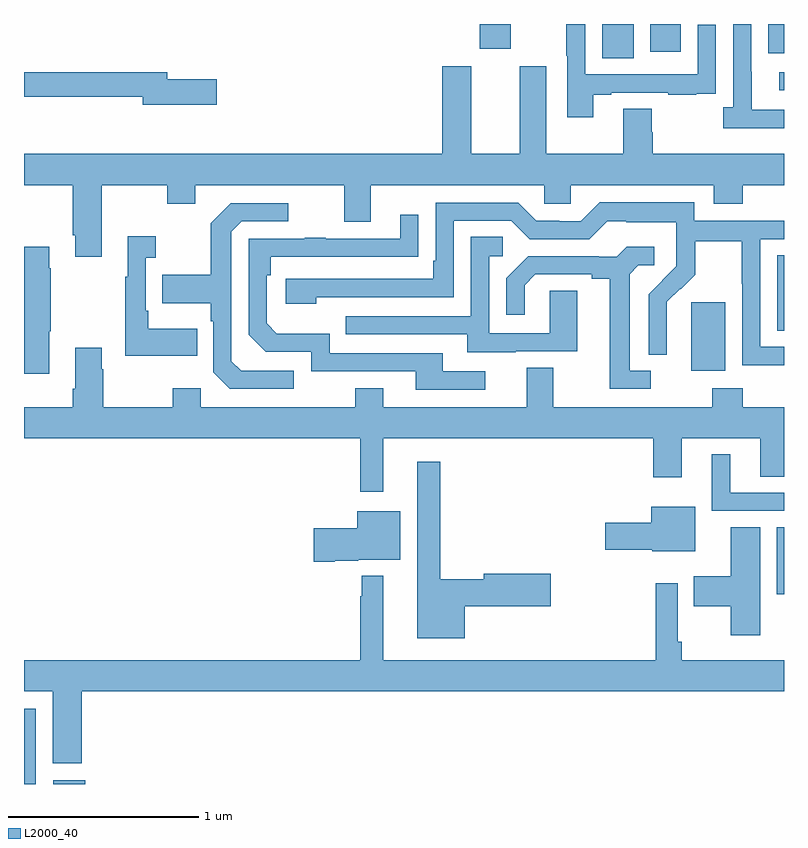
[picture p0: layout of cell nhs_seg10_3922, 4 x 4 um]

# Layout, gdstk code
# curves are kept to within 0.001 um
import gdstk
lib = gdstk.Library(unit=1e-6, precision=1e-09)
def R(c, l, rs):  # rectangles x0, y0, x1, y1
    for r in rs: c.add(gdstk.rectangle(r[:2], r[2:], *l))
def P(c, l, *ps):  # polygons
    for p in ps: c.add(gdstk.Polygon(p, *l))
L2000_40 = (2000, 40)

nhs_seg10_3922 = lib.new_cell('nhs_seg10_3922')
R(nhs_seg10_3922, L2000_40, [(327,1294.5,327.063,1294.896), (327.155,1294.5,327.322,1294.519), (330.962,1295.499,331,1295.852), (330.512,1296.674,330.691,1297.035), (330.965,1296.886,331,1297.283), (330.975,1298.151,331,1298.247), (330.044,1298.32,330.208,1298.5), (330.917,1298.345,331,1298.5), (330.296,1298.355,330.457,1298.5), (329.399,1298.37,329.563,1298.5)])
P(nhs_seg10_3922, L2000_40, [(331,1298.049),(330.829,1298.049),(330.829,1298.249),(330.828,1298.249),(330.828,1298.5),(330.732,1298.5),(330.732,1298.062),(330.681,1298.062),(330.681,1297.952),(331,1297.952)],
  [(329.995,1298.127),(330.091,1298.127),(330.091,1298.139),(330.391,1298.139),(330.391,1298.127),(330.539,1298.127),(330.539,1298.133),(330.641,1298.133),(330.641,1298.242),(330.642,1298.242),(330.642,1298.497),(330.546,1298.497),(330.546,1298.235),(329.955,1298.235),(329.955,1298.5),(329.854,1298.5),(329.854,1298.332),(329.859,1298.332),(329.859,1298.01),(329.995,1298.01)],
  [(327.409,1297.652),(327.754,1297.652),(327.754,1297.553),(327.901,1297.553),(327.901,1297.652),(328.685,1297.652),(328.685,1297.458),(328.825,1297.458),(328.825,1297.652),(329.739,1297.652),(329.739,1297.554),(329.877,1297.554),(329.877,1297.652),(330.629,1297.652),(330.629,1297.553),(330.782,1297.553),(330.782,1297.652),(331,1297.652),(331,1297.816),(330.308,1297.816),(330.308,1297.929),(330.303,1297.929),(330.303,1298.054),(330.155,1298.054),(330.155,1297.816),(329.749,1297.816),(329.749,1298.278),(329.609,1298.278),(329.609,1297.816),(329.353,1297.816),(329.353,1298.278),(329.201,1298.278),(329.201,1297.816),(327,1297.816),(327,1297.652),(327.257,1297.652),(327.257,1297.387),(327.269,1297.387),(327.269,1297.275),(327.409,1297.275)],
  [(328.015,1298.21),(327.754,1298.21),(327.754,1298.246),(327,1298.246),(327,1298.118),(327.626,1298.118),(327.626,1298.075),(328.015,1298.075)],
  [(331,1296.801),(330.876,1296.801),(330.876,1297.368),(331,1297.368),(331,1297.464),(330.528,1297.464),(330.528,1297.561),(330.031,1297.561),(329.931,1297.461),(329.816,1297.461),(329.816,1297.464),(329.697,1297.464),(329.601,1297.56),(329.166,1297.56),(329.166,1297.255),(329.153,1297.255),(329.153,1297.158),(328.377,1297.158),(328.377,1297.028),(328.538,1297.028),(328.538,1297.062),(329.262,1297.062),(329.262,1297.464),(329.565,1297.464),(329.661,1297.368),(329.976,1297.368),(330.069,1297.461),(330.169,1297.461),(330.169,1297.457),(330.432,1297.457),(330.432,1297.323),(330.434,1297.323),(330.434,1297.226),(330.288,1297.078),(330.288,1296.76),(330.384,1296.76),(330.383,1297.037),(330.453,1297.107),(330.456,1297.104),(330.533,1297.181),(330.533,1297.356),(330.778,1297.356),(330.778,1297.132),(330.78,1297.132),(330.78,1296.703),(331,1296.703)],
  [(328.42,1296.675),(328.143,1296.675),(328.092,1296.726),(328.092,1297.407),(328.146,1297.461),(328.39,1297.461),(328.39,1297.557),(328.089,1297.557),(327.984,1297.451),(327.984,1297.179),(327.727,1297.179),(327.727,1297.031),(327.984,1297.031),(327.984,1296.935),(327.996,1296.935),(327.996,1296.666),(328.083,1296.579),(328.42,1296.579)],
  [(329.428,1296.672),(329.203,1296.672),(329.203,1296.768),(328.608,1296.768),(328.608,1296.871),(328.331,1296.871),(328.278,1296.924),(328.278,1297.178),(328.298,1297.178),(328.298,1297.275),(329.075,1297.276),(329.075,1297.495),(328.979,1297.495),(328.979,1297.371),(328.589,1297.371),(328.589,1297.376),(328.477,1297.376),(328.477,1297.371),(328.182,1297.371),(328.182,1296.864),(328.272,1296.774),(328.512,1296.774),(328.512,1296.672),(329.063,1296.672),(329.063,1296.576),(329.428,1296.576)],
  [(327.911,1296.895),(327.655,1296.895),(327.655,1296.991),(327.642,1296.991),(327.642,1297.271),(327.694,1297.271),(327.694,1297.384),(327.545,1297.384),(327.545,1297.171),(327.534,1297.171),(327.534,1296.755),(327.911,1296.755)],
  [(329.587,1296.777),(329.911,1296.777),(329.911,1297.097),(329.766,1297.097),(329.766,1296.873),(329.448,1296.873),(329.448,1297.278),(329.521,1297.278),(329.521,1297.379),(329.352,1297.379),(329.352,1296.963),(328.693,1296.963),(328.693,1296.867),(329.333,1296.867),(329.333,1296.773),(329.587,1296.773)],
  [(330.298,1296.675),(330.187,1296.675),(330.187,1297.183),(330.234,1297.23),(330.316,1297.23),(330.316,1297.327),(330.172,1297.327),(330.12,1297.275),(330.026,1297.275),(330.026,1297.278),(329.654,1297.278),(329.538,1297.162),(329.538,1296.969),(329.635,1296.969),(329.635,1297.125),(329.692,1297.182),(329.987,1297.182),(329.987,1297.16),(330.083,1297.16),(330.083,1296.579),(330.298,1296.579)],
  [(327.133,1296.883),(327.141,1296.883),(327.141,1297.214),(327.133,1297.214),(327.133,1297.327),(327,1297.327),(327,1296.66),(327.133,1296.66)],
  [(328.891,1296.32),(330.311,1296.32),(330.311,1296.114),(330.463,1296.114),(330.463,1296.32),(330.875,1296.32),(330.875,1296.118),(331,1296.118),(331,1296.484),(330.782,1296.484),(330.782,1296.583),(330.622,1296.583),(330.622,1296.484),(329.785,1296.484),(329.785,1296.692),(329.645,1296.692),(329.645,1296.484),(328.891,1296.484),(328.891,1296.583),(328.744,1296.583),(328.744,1296.484),(327.93,1296.484),(327.93,1296.583),(327.784,1296.583),(327.784,1296.484),(327.417,1296.484),(327.417,1296.683),(327.409,1296.683),(327.409,1296.796),(327.269,1296.796),(327.269,1296.58),(327.257,1296.58),(327.257,1296.484),(327,1296.484),(327,1296.32),(328.77,1296.32),(328.77,1296.039),(328.891,1296.039)],
  [(331,1296.033),(330.718,1296.033),(330.718,1296.235),(330.62,1296.235),(330.62,1295.937),(331,1295.937)],
  [(329.32,1295.435),(329.773,1295.435),(329.773,1295.606),(329.42,1295.606),(329.42,1295.578),(329.191,1295.578),(329.191,1296.196),(329.069,1296.196),(329.069,1295.267),(329.32,1295.267)],
  [(330.532,1295.959),(330.302,1295.959),(330.302,1295.874),(330.06,1295.874),(330.06,1295.732),(330.306,1295.732),(330.306,1295.726),(330.532,1295.726)],
  [(328.636,1295.675),(328.758,1295.675),(328.758,1295.681),(328.981,1295.681),(328.981,1295.935),(328.754,1295.935),(328.754,1295.847),(328.524,1295.847),(328.524,1295.669),(328.636,1295.669)],
  [(330.874,1295.852),(330.719,1295.852),(330.719,1295.593),(330.526,1295.593),(330.526,1295.435),(330.719,1295.435),(330.719,1295.283),(330.874,1295.283)],
  [(330.325,1295.557),(330.325,1295.152),(328.891,1295.152),(328.891,1295.596),(328.777,1295.596),(328.777,1295.489),(328.77,1295.489),(328.77,1295.152),(327,1295.152),(327,1294.988),(327.152,1294.988),(327.152,1294.608),(327.305,1294.608),(327.305,1294.988),(331,1294.988),(331,1295.152),(330.461,1295.152),(330.461,1295.248),(330.441,1295.248),(330.441,1295.557)])

lib.write_gds('nhs_seg10_3922.gds')
